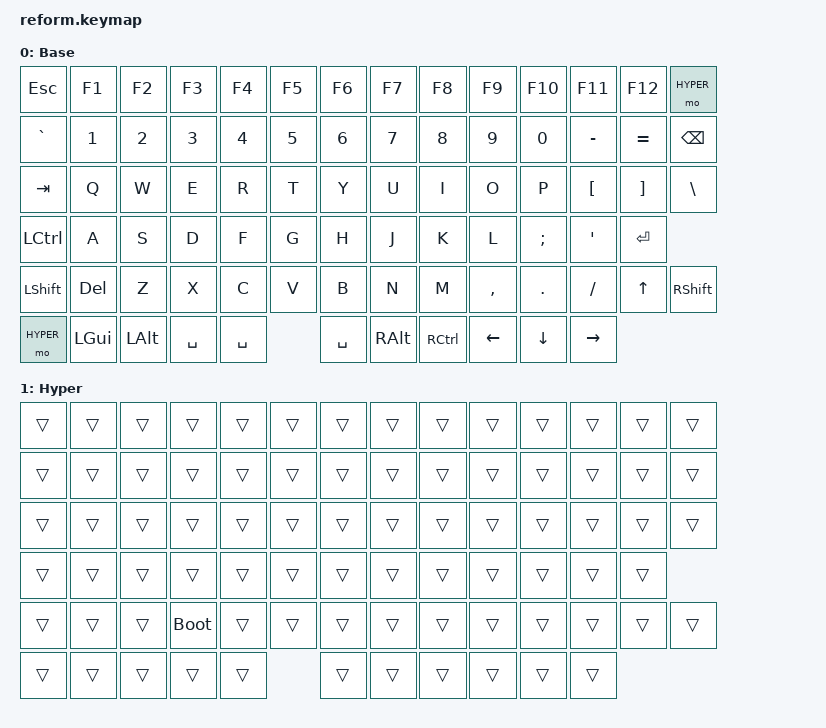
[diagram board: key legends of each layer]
#include <behaviors.dtsi>
#include <dt-bindings/zmk/keys.h>

#define BASE  0
#define HYPER 1

// ---------- Reform key switch positions ----------
//
// -------------------------------------------------------------------------------------------------------
// |   0  |   1  |   2  |   3  |   4  |   5  |   6  |   7  |   8  |   9  |  10  |  11  |  12  |    13    |
// -------------------------------------------------------------------------------------------------------
// |  15  |  15  |  16  |  17  |  18  |  19  |  20  |  21  |  22  |  23  |  24  |  25  |  26  |    27    |
// -------------------------------------------------------------------------------------------------------
// |    28    |  29  |  30  |  31  |  32  |  33  |  34  |  35  |  36  |  37  |  38  |  39  |  40  |  41  |
// -------------------------------------------------------------------------------------------------------
// |      42     |  43  |  44  |  45  |  46  |  47  |  48  |  49  |  50  |  51  |  52  |  53  |    54    |
// -------------------------------------------------------------------------------------------------------
// |   56    |  57  |  58  |  59  |  60  |  61  |  62  |  63  |  64  |  65  |  66  |  67  |  68  |  69   |
// -------------------------------------------------------------------------------------------------------
// |   70    |    71   |    72    |    73   |      74     |    76    |  77  |  78  |  79  |  80  |  81   |
// -------------------------------------------------------------------------------------------------------
//
// ESC(0)    F1(1)     F2(2)     F3(3)     F4(4)     F5(5)     F6(6)     F7(7)     F8(8)     F9(9)     F10(10)   F11(11)   F12(12)   CIRCLE(13)
// GRAVE(14) N1(15)    N2(16)    N3(17)    N4(18)    N5(19)    N6(20)    N7(21)    N8(22)    N9(23)    N0(24)    MINUS(25) EQUAL(26) BSPC(27)
// TAB(28)   Q(29)     W(30)     E(31)     R(32)     T(33)     Y(34)     U(35)     I(36)     O(37)     P(38)     LBRC(39)  RBRC(40)  BSLS(41)
// ECTRL(42) A(43)     S(44)     D(45)     F(46)     G(47)     H(48)     J(49)     K(50)     L(51)     SCLN(52)  QUOTE(53) ENTER(54)
// LSFT(56)  LSFT(57)  Z(58)     X(59)     C(60)     V(61)     B(62)     N(63)     M(64)     COMMA(65) DOT(66)   SLASH(67) UP(68)    RSFT(69)
// HYPER(70) LGUI(71)  LALT(72)  SPACE(73) SPACE(74)           SPACE(76) RALT(77)  RCTL(78)  LEFT(79)  DOWN(80)  RIGHT(81)


/ {
    combos {
        compatible = "zmk,combos";

        // CIRCLE + HYPER + R = &sys_reset
        combo_bootloader {
            timeout-ms = <100>;
            key-positions = <13 32 69>;
            bindings = <&sys_reset>;
        };

        // CIRCLE + HYPER + X = &bootloader
        combo_sys_reset {
            timeout-ms = <100>;
            key-positions = <13 58 69>;
            bindings = <&bootloader>;
        };
    };


    keymap {
        compatible = "zmk,keymap";

        base {
            // Layer 0 BASE
            // -------------------------------------------------------------------------------------------------------
            // |  Esc |  F1  |  F2  |  F3  |  F4  |  F5  |  F6  |  F7  |  F8  |  F9  |  F10 |  F11 |  F12 |    Fn    |
            // -------------------------------------------------------------------------------------------------------
            // |  `~  |  1!  |  2@  |  3#  |  4$  |  5%  |  6^  |  7&  |  8*  |  9(  |  0)  |  -_  |  =+  | Backspace|
            // -------------------------------------------------------------------------------------------------------
            // |    Tab   |   Q  |   W  |   E  |   R  |   T  |   Y  |   U  |   I  |   O  |   P  |  [{  |  ]}  |  \|  |
            // -------------------------------------------------------------------------------------------------------
            // |    LCtrl    |   A  |   S  |   D  |   F  |   G  |   H  |   J  |   K  |   L  |  ;:  |  '"  |   Enter  |
            // -------------------------------------------------------------------------------------------------------
            // |  LShift |  Del |   Z  |   X  |   C  |   V  |   B  |   N  |   M  |  ,<  |  .>  |  /?  |  Up  | RShift|
            // -------------------------------------------------------------------------------------------------------
            // |   Fn    |   LGUI  |   ALT    |   Space |     Space   |  Space   | ALT | RCtrl | Left | Down |  Right|
            // -------------------------------------------------------------------------------------------------------
            display-name = "Base";
            bindings = <
                &kp ESC   &kp F1    &kp F2    &kp F3    &kp F4    &kp F5    &kp F6    &kp F7    &kp F8    &kp F9    &kp F10   &kp F11   &kp F12   &mo HYPER
                &kp GRAVE &kp N1    &kp N2    &kp N3    &kp N4    &kp N5    &kp N6    &kp N7    &kp N8    &kp N9    &kp N0    &kp MINUS &kp EQUAL &kp BSPC
                &kp TAB   &kp Q     &kp W     &kp E     &kp R     &kp T     &kp Y     &kp U     &kp I     &kp O     &kp P     &kp LBKT  &kp RBKT  &kp BSLH
                &kp LCTRL &kp A     &kp S     &kp D     &kp F     &kp G     &kp H     &kp J     &kp K     &kp L     &kp SEMI  &kp SQT   &kp ENTER
                &kp LSHFT &kp DEL   &kp Z     &kp X     &kp C     &kp V     &kp B     &kp N     &kp M     &kp COMMA &kp DOT   &kp FSLH  &kp UP    &kp RSHFT
                &mo HYPER &kp LGUI  &kp LALT  &kp SPACE &kp SPACE           &kp SPACE &kp RALT  &kp RCTRL &kp LEFT  &kp DOWN  &kp RIGHT
            >;
        };

        hyper {
            // Layer 1 HYPER
            // -------------------------------------------------------------------------------------------------------
            // | ---- | ---- | ---- | ---- | ---- | ---- | ---- | ---- | ---- | ---- | ---- | ---- | ---- | -------- |
            // -------------------------------------------------------------------------------------------------------
            // | ---- | ---- | ---- | ---- | ---- | ---- | ---- | ---- | ---- | ---- | ---- | ---- | ---- | -------- |
            // -------------------------------------------------------------------------------------------------------
            // | -------- | ---- | ---- | ---- | ---- | ---- | ---- | ---- | ---- | ---- | ---- | ---- | ---- | ---- |
            // -------------------------------------------------------------------------------------------------------
            // | ----------- | ---- | ---- | ---- | ---- | ---- | ---- | ---- | ---- | ---- | ---- | ---- | -------- |
            // -------------------------------------------------------------------------------------------------------
            // | ------- | ---- | ---- | ---- | ---- | ---- | ---- | ---- | ---- | ---- | ---- | ---- | ---- | ----- |
            // -------------------------------------------------------------------------------------------------------
            // | ------- | ------- | -------- | ------- | ----------- | -------- | --- | ----- | ---- | ---- | ----- |
            // -------------------------------------------------------------------------------------------------------
            display-name = "Hyper";
            bindings = <
                &trans    &trans    &trans    &trans    &trans    &trans    &trans    &trans    &trans    &trans    &trans    &trans    &trans    &trans
                &trans    &trans    &trans    &trans    &trans    &trans    &trans    &trans    &trans    &trans    &trans    &trans    &trans    &trans
                &trans    &trans    &trans    &trans    &trans    &trans    &trans    &trans    &trans    &trans    &trans    &trans    &trans    &trans
                &trans    &trans    &trans    &trans    &trans    &trans    &trans    &trans    &trans    &trans    &trans    &trans    &trans
                &trans    &trans    &trans    &bootloader &trans  &trans    &trans    &trans    &trans    &trans    &trans    &trans    &trans    &trans
                &trans    &trans    &trans    &trans    &trans              &trans    &trans    &trans    &trans    &trans    &trans
            >;
        };
    };
};
